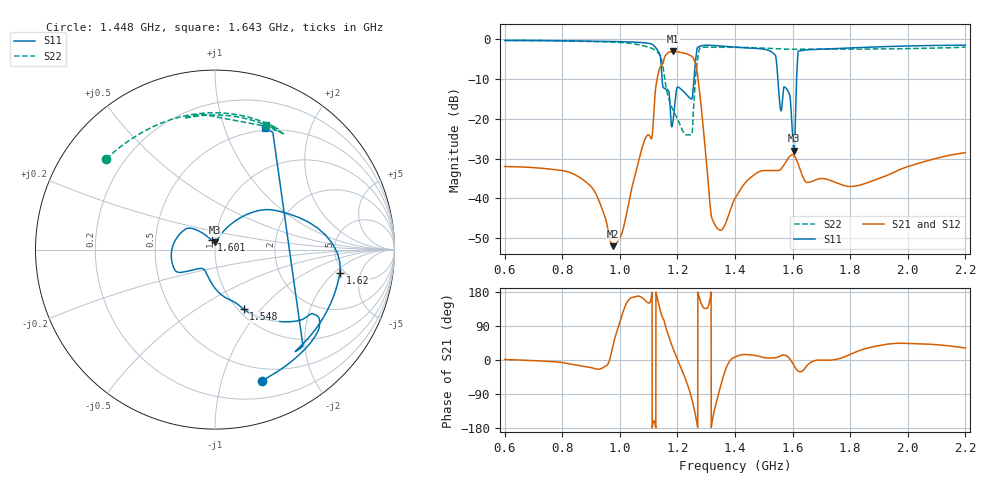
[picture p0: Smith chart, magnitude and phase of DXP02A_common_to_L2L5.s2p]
! Project 16: GNSS L1 + L2/L5 active antenna front end (RFMW-ANT)
! Generated by Scripts/simulate.py from Scripts/ds_data.py; format GHz / RI, Z0 = 50 ohm
! ESTIMATED from DXP02A.s3p (see its header): port 1 = common (pin 2), port 2 = L2/L5 (pin 5); pin 7 in 50 ohm.
# GHz S RI R 50.0
!freq ReS11 ImS11 ReS21 ImS21 ReS12 ImS12 ReS22 ImS22
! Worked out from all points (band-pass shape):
!   3201 points, 600 MHz to 2.2 GHz, reference 50 ohm
!   highest |S21| = -3.05 dB at 1.185 GHz (marker M1); lowest = -52.0 dB at 975 MHz (marker M2)
!   |S21| within 3 dB of the highest: 1.15 GHz to 1.263 GHz (113.6 MHz wide, 9.41 % of centre)
!   lowest |S11| = -28.0 dB at 1.605 GHz (marker M3), VSWR 1.08, Z = 49.7 + j3.97 ohm
!   |S11| at or under -10 dB: 1.147 GHz to 1.257 GHz (110.6 MHz wide, 9.2 % of centre); 1.549 GHz to 1.614 GHz (64.97 MHz wide, 4.11 % of centre)
!   |S22| runs from -24.0 to -0.3 dB; largest |S21 - S12| = 0
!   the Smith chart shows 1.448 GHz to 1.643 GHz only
!   S11 on the Smith chart (normalised r, x): 1.448 GHz: 0.37, -1.36; 1.548 GHz: 1.06, -0.81; 1.601 GHz: 0.96, +0.10; 1.62 GHz: 4.59, -2.36; 1.643 GHz: 0.47, +1.38
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0.6  -0.0213 0.9658  0.0251 0.000555  0.0251 0.000555  -0.0213 0.9658
0.867  0.2577 0.9155  0.017 -0.0048  0.017 -0.0048  0.2555 0.9076
0.9545  0.2359 0.91  0.00472 -0.00122  0.00472 -0.00122  -0.3185 0.8675
0.975  -0.6551 -0.67  0.00207 0.00142  0.00207 0.00142  -0.3327 0.8565
1.0375  -0.2662 -0.8865  -0.0109 0.00328  -0.0109 0.00328  -0.4087 0.7882
1.054  -0.2059 -0.8967  -0.0196 0.0045  -0.0196 0.0045  -0.1945 -0.8471
1.1335  -0.3241 -0.6252  -0.332 0.1721  -0.332 0.1721  -0.3104 -0.5987
1.185  -0.0478 0.0822  0.6085 0.3538  0.6085 0.3538  -0.0643 0.1106
1.262  0.3069 -0.3962  -0.4033 -0.3124  -0.4033 -0.3124  0.1814 -0.2341
1.31  -0.4391 -0.7166  -0.00971 0.00595  -0.00971 0.00595  -0.415 -0.6773
1.3265  0.1651 -0.819  -0.00375 -0.00324  -0.00375 -0.00324  -0.7916 0.0656
1.4  0.1963 -0.7697  0.00991 0.00133  0.00991 0.00133  -0.703 0.3698
1.448  0.2637 -0.7319  0.017 0.00416  0.017 0.00416  -0.6056 0.5038
1.5475  0.1601 -0.3324  0.0222 0.00279  0.0222 0.00279  -0.0944 0.7514
1.6005  -0.0187 0.052  0.035 -0.00549  0.035 -0.00549  0.1161 0.7408
1.605  -0.000973 0.0398  0.0335 -0.00901  0.0335 -0.00901  0.1948 0.7241
1.62  0.6962 -0.1282  0.0233 -0.0132  0.0233 -0.0132  0.3694 0.6526
1.6295  0.4661 -0.5486  0.0183 -0.0109  0.0183 -0.0109  0.3828 0.6449
1.6425  0.2772 0.6769  0.0154 -0.00631  0.0154 -0.00631  0.2842 0.694
1.667  -0.3012 0.6788  0.0163 -0.00132  0.0163 -0.00132  -0.7332 0.1577
1.9335  -0.7586 0.2866  0.0147 0.0134  0.0147 0.0134  -0.4737 0.5909
2.2  -0.4389 0.7179  0.0321 0.0196  0.0321 0.0196  -0.4144 0.6777
